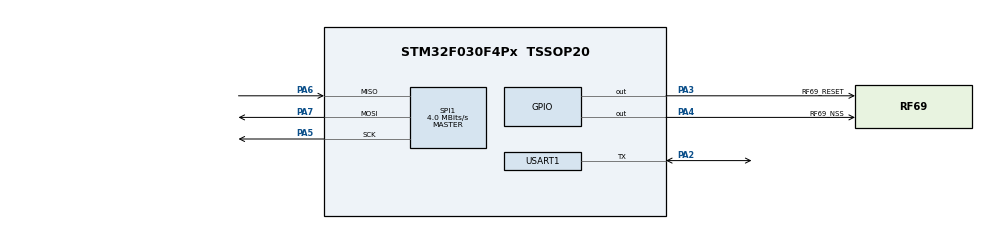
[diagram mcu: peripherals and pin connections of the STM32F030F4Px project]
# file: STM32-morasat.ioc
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Mcu.Family=STM32F0
Mcu.Name=STM32F030F4Px
Mcu.Package=TSSOP20
PA2.Mode=Half_duplex(single_wire_mode)
PA2.Signal=USART1_TX
PA3.GPIO_Label=RF69_RESET
PA3.Signal=GPIO_Output
PA4.GPIO_Label=RF69_NSS
PA4.Signal=GPIO_Output
PA5.Mode=Full_Duplex_Master
PA5.Signal=SPI1_SCK
PA6.Mode=Full_Duplex_Master
PA6.Signal=SPI1_MISO
PA7.Mode=Full_Duplex_Master
PA7.Signal=SPI1_MOSI
ProjectManager.HeapSize=0x200
ProjectManager.StackSize=0x400
ProjectManager.TargetToolchain=Makefile
RCC.AHBFreq_Value=8000000
RCC.APB1Freq_Value=8000000
RCC.APB1TimFreq_Value=8000000
RCC.HCLKFreq_Value=8000000
RCC.PLLMUL=RCC_PLL_MUL4
RCC.SYSCLKFreq_VALUE=8000000
SPI1.BaudRatePrescaler=SPI_BAUDRATEPRESCALER_2
SPI1.CalculateBaudRate=4.0 MBits/s
SPI1.DataSize=SPI_DATASIZE_8BIT
SPI1.Direction=SPI_DIRECTION_2LINES
SPI1.Mode=SPI_MODE_MASTER
SPI1.VirtualType=VM_MASTER
TIM14.Prescaler=7
USART1.VirtualMode-Half_duplex(single_wire_mode)=VM_ASYNC
VP_CRC_VS_CRC.Mode=CRC_Activate
VP_TIM14_VS_ClockSourceINT.Mode=Enable_Timer
board=custom

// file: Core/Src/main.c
/* USER CODE BEGIN Header */
/**
  ******************************************************************************
  * @file           : main.c
  * @brief          : Main program body
  ******************************************************************************
  * @attention
  *
  * Copyright (c) 2024 STMicroelectronics.
  * All rights reserved.
  *
  * This software is licensed under terms that can be found in the LICENSE file
  * in the root directory of this software component.
  * If no LICENSE file comes with this software, it is provided AS-IS.
  *
  ******************************************************************************
  */
/* USER CODE END Header */
#include "main.h"

/* USER CODE BEGIN Includes */
#define ERROR_CORRECTION

#include <string.h>
#include <stdlib.h>
#include "rf69.h"
#ifdef ERROR_CORRECTION
#include "kodolo.h"
#endif
/* USER CODE END Includes */

/* USER CODE BEGIN PV */

static uint64_t tick = 0;
uint16_t packetnum;

/* USER CODE END PV */

void SystemClock_Config(void);
static void MX_GPIO_Init(void);
static void MX_SPI1_Init(void);
static void MX_USART1_UART_Init(void);
static void MX_CRC_Init(void);
static void MX_TIM14_Init(void);

/* USER CODE BEGIN 0 */

void delay_us (uint16_t us)
{
  LL_TIM_SetCounter(TIM14, 0);
	while (
    LL_TIM_GetCounter(TIM14) < us
    );  // wait for the counter to reach the us input in the parameter
}

void delay(uint32_t ms)
{
  for (uint32_t i = 0; i < ms; i++)
  {
    delay_us(1000);
  }
}

void inc_tick() {
  tick++;
}

uint64_t millis() {
  return tick;
}

/* USER CODE END 0 */

int main(void)
{

  /* MCU Configuration--------------------------------------------------------*/

  /* Reset of all peripherals, Initializes the Flash interface and the Systick. */
  LL_APB1_GRP2_EnableClock(LL_APB1_GRP2_PERIPH_SYSCFG);
  LL_APB1_GRP1_EnableClock(LL_APB1_GRP1_PERIPH_PWR);

  /* SysTick_IRQn interrupt configuration */
  NVIC_SetPriority(SysTick_IRQn, 3);

  /* Configure the system clock */
  SystemClock_Config();

  /* USER CODE BEGIN SysInit */
  LL_SYSTICK_EnableIT();
  // LL_LPM_EnableSleepOnExit();

  /* USER CODE END SysInit */

  /* Initialize all configured peripherals */
  MX_GPIO_Init();
  MX_SPI1_Init();
  MX_USART1_UART_Init();
  MX_CRC_Init();
  MX_TIM14_Init();
  /* USER CODE BEGIN 2 */

  LL_TIM_EnableCounter(TIM14);

  packetnum = 0;
  if (!init()) Error_Handler();
  //if (!setFrequency()) Error_Handler();
  setModemConfig(GFSK_Rb2_4Fd4_8);
  setPreambleLength(4);
  setTxPower(-18, false);
  /* USER CODE END 2 */

  /* Infinite loop */
  while (1)
  {

    /* USER CODE BEGIN 3 */
    char radiopacket[18] = "Hello world #\0\0\0\0";
    //sprintf(radiopacket, "Hello World #%d", packetnum++);
    if (packetnum > 9999) packetnum = 0; // reset packetnum
    char packetnumstr[5];
    itoa(packetnum++, packetnumstr, 10);
    for (uint8_t i = 0; packetnumstr[i] != 0 && i < 5; i++) {
      radiopacket[13 + i] = packetnumstr[i];
    }
    #ifdef ERROR_CORRECTION
    uint8_t encoded[32];
    kodolo_encode_bytes((uint8_t*)radiopacket, encoded);
		// Send a message!
		// for (int i=0; i < 10; i++)
		send(encoded, 32);
    #else
    send((uint8_t*)radiopacket, 18);
    #endif
		waitPacketSent();
    delay(1000);

  }
  /* USER CODE END 3 */
}

void SystemClock_Config(void)
{
  LL_FLASH_SetLatency(LL_FLASH_LATENCY_0);
  while(LL_FLASH_GetLatency() != LL_FLASH_LATENCY_0)
  {
  }
  LL_RCC_HSI_Enable();

   /* Wait till HSI is ready */
  while(LL_RCC_HSI_IsReady() != 1)
  {

  }
  LL_RCC_HSI_SetCalibTrimming(16);
  LL_RCC_SetAHBPrescaler(LL_RCC_SYSCLK_DIV_1);
  LL_RCC_SetAPB1Prescaler(LL_RCC_APB1_DIV_1);
  LL_RCC_SetSysClkSource(LL_RCC_SYS_CLKSOURCE_HSI);

   /* Wait till System clock is ready */
  while(LL_RCC_GetSysClkSource() != LL_RCC_SYS_CLKSOURCE_STATUS_HSI)
  {

  }
  LL_Init1msTick(8000000);
  LL_SetSystemCoreClock(8000000);
  LL_RCC_SetUSARTClockSource(LL_RCC_USART1_CLKSOURCE_PCLK1);
}

static void MX_CRC_Init(void)
{

  /* Peripheral clock enable */
  LL_AHB1_GRP1_EnableClock(LL_AHB1_GRP1_PERIPH_CRC);

  LL_CRC_SetInputDataReverseMode(CRC, LL_CRC_INDATA_REVERSE_NONE);
  LL_CRC_SetOutputDataReverseMode(CRC, LL_CRC_OUTDATA_REVERSE_NONE);
  LL_CRC_SetInitialData(CRC, LL_CRC_DEFAULT_CRC_INITVALUE);

}

static void MX_SPI1_Init(void)
{

  LL_SPI_InitTypeDef SPI_InitStruct = {0};

  LL_GPIO_InitTypeDef GPIO_InitStruct = {0};

  /* Peripheral clock enable */
  LL_APB1_GRP2_EnableClock(LL_APB1_GRP2_PERIPH_SPI1);

  LL_AHB1_GRP1_EnableClock(LL_AHB1_GRP1_PERIPH_GPIOA);
  /**SPI1 GPIO Configuration
  PA5   ------> SPI1_SCK
  PA6   ------> SPI1_MISO
  PA7   ------> SPI1_MOSI
  */
  GPIO_InitStruct.Pin = LL_GPIO_PIN_5;
  GPIO_InitStruct.Mode = LL_GPIO_MODE_ALTERNATE;
  GPIO_InitStruct.Speed = LL_GPIO_SPEED_FREQ_HIGH;
  GPIO_InitStruct.OutputType = LL_GPIO_OUTPUT_PUSHPULL;
  GPIO_InitStruct.Pull = LL_GPIO_PULL_NO;
  GPIO_InitStruct.Alternate = LL_GPIO_AF_0;
  LL_GPIO_Init(GPIOA, &GPIO_InitStruct);

  GPIO_InitStruct.Pin = LL_GPIO_PIN_6;
  GPIO_InitStruct.Mode = LL_GPIO_MODE_ALTERNATE;
  GPIO_InitStruct.Speed = LL_GPIO_SPEED_FREQ_HIGH;
  GPIO_InitStruct.OutputType = LL_GPIO_OUTPUT_PUSHPULL;
  GPIO_InitStruct.Pull = LL_GPIO_PULL_NO;
  GPIO_InitStruct.Alternate = LL_GPIO_AF_0;
  LL_GPIO_Init(GPIOA, &GPIO_InitStruct);

  GPIO_InitStruct.Pin = LL_GPIO_PIN_7;
  GPIO_InitStruct.Mode = LL_GPIO_MODE_ALTERNATE;
  GPIO_InitStruct.Speed = LL_GPIO_SPEED_FREQ_HIGH;
  GPIO_InitStruct.OutputType = LL_GPIO_OUTPUT_PUSHPULL;
  GPIO_InitStruct.Pull = LL_GPIO_PULL_NO;
  GPIO_InitStruct.Alternate = LL_GPIO_AF_0;
  LL_GPIO_Init(GPIOA, &GPIO_InitStruct);

  /* SPI1 parameter configuration*/
  SPI_InitStruct.TransferDirection = LL_SPI_FULL_DUPLEX;
  SPI_InitStruct.Mode = LL_SPI_MODE_MASTER;
  SPI_InitStruct.DataWidth = LL_SPI_DATAWIDTH_8BIT;
  SPI_InitStruct.ClockPolarity = LL_SPI_POLARITY_LOW;
  SPI_InitStruct.ClockPhase = LL_SPI_PHASE_1EDGE;
  SPI_InitStruct.NSS = LL_SPI_NSS_SOFT;
  SPI_InitStruct.BaudRate = LL_SPI_BAUDRATEPRESCALER_DIV2;
  SPI_InitStruct.BitOrder = LL_SPI_MSB_FIRST;
  SPI_InitStruct.CRCCalculation = LL_SPI_CRCCALCULATION_DISABLE;
  SPI_InitStruct.CRCPoly = 7;
  LL_SPI_Init(SPI1, &SPI_InitStruct);
  LL_SPI_SetStandard(SPI1, LL_SPI_PROTOCOL_MOTOROLA);
  LL_SPI_EnableNSSPulseMgt(SPI1);
  /* USER CODE BEGIN SPI1_Init 2 */
  LL_SPI_Enable(SPI1);
  /* USER CODE END SPI1_Init 2 */

}

static void MX_TIM14_Init(void)
{

  LL_TIM_InitTypeDef TIM_InitStruct = {0};

  /* Peripheral clock enable */
  LL_APB1_GRP1_EnableClock(LL_APB1_GRP1_PERIPH_TIM14);

  TIM_InitStruct.Prescaler = 7;
  TIM_InitStruct.CounterMode = LL_TIM_COUNTERMODE_UP;
  TIM_InitStruct.Autoreload = 65535;
  TIM_InitStruct.ClockDivision = LL_TIM_CLOCKDIVISION_DIV1;
  LL_TIM_Init(TIM14, &TIM_InitStruct);
  LL_TIM_DisableARRPreload(TIM14);

}

static void MX_USART1_UART_Init(void)
{

  LL_USART_InitTypeDef USART_InitStruct = {0};

  LL_GPIO_InitTypeDef GPIO_InitStruct = {0};

  /* Peripheral clock enable */
  LL_APB1_GRP2_EnableClock(LL_APB1_GRP2_PERIPH_USART1);

  LL_AHB1_GRP1_EnableClock(LL_AHB1_GRP1_PERIPH_GPIOA);
  /**USART1 GPIO Configuration
  PA2   ------> USART1_TX
  */
  GPIO_InitStruct.Pin = LL_GPIO_PIN_2;
  GPIO_InitStruct.Mode = LL_GPIO_MODE_ALTERNATE;
  GPIO_InitStruct.Speed = LL_GPIO_SPEED_FREQ_HIGH;
  GPIO_InitStruct.OutputType = LL_GPIO_OUTPUT_OPENDRAIN;
  GPIO_InitStruct.Pull = LL_GPIO_PULL_UP;
  GPIO_InitStruct.Alternate = LL_GPIO_AF_1;
  LL_GPIO_Init(GPIOA, &GPIO_InitStruct);

  USART_InitStruct.BaudRate = 38400;
  USART_InitStruct.DataWidth = LL_USART_DATAWIDTH_8B;
  USART_InitStruct.StopBits = LL_USART_STOPBITS_1;
  USART_InitStruct.Parity = LL_USART_PARITY_NONE;
  USART_InitStruct.TransferDirection = LL_USART_DIRECTION_TX_RX;
  USART_InitStruct.OverSampling = LL_USART_OVERSAMPLING_16;
  LL_USART_Init(USART1, &USART_InitStruct);
  LL_USART_ConfigHalfDuplexMode(USART1);
  LL_USART_Enable(USART1);

}

static void MX_GPIO_Init(void)
{
  LL_GPIO_InitTypeDef GPIO_InitStruct = {0};

  /* GPIO Ports Clock Enable */
  LL_AHB1_GRP1_EnableClock(LL_AHB1_GRP1_PERIPH_GPIOA);

  /**/
  LL_GPIO_ResetOutputPin(RF69_RESET_GPIO_Port, RF69_RESET_Pin);

  /**/
  LL_GPIO_ResetOutputPin(RF69_NSS_GPIO_Port, RF69_NSS_Pin);

  /**/
  GPIO_InitStruct.Pin = RF69_RESET_Pin;
  GPIO_InitStruct.Mode = LL_GPIO_MODE_OUTPUT;
  GPIO_InitStruct.Speed = LL_GPIO_SPEED_FREQ_LOW;
  GPIO_InitStruct.OutputType = LL_GPIO_OUTPUT_PUSHPULL;
  GPIO_InitStruct.Pull = LL_GPIO_PULL_NO;
  LL_GPIO_Init(RF69_RESET_GPIO_Port, &GPIO_InitStruct);

  /**/
  GPIO_InitStruct.Pin = RF69_NSS_Pin;
  GPIO_InitStruct.Mode = LL_GPIO_MODE_OUTPUT;
  GPIO_InitStruct.Speed = LL_GPIO_SPEED_FREQ_LOW;
  GPIO_InitStruct.OutputType = LL_GPIO_OUTPUT_PUSHPULL;
  GPIO_InitStruct.Pull = LL_GPIO_PULL_NO;
  LL_GPIO_Init(RF69_NSS_GPIO_Port, &GPIO_InitStruct);

}

void Error_Handler(void)
{
  /* USER CODE BEGIN Error_Handler_Debug */
  /* User can add his own implementation to report the HAL error return state */
  __disable_irq();
  while (1)
  {
    //reset the microcontroller
    //HAL_NVIC_SystemReset();
    __NOP();
  }
  /* USER CODE END Error_Handler_Debug */
}
